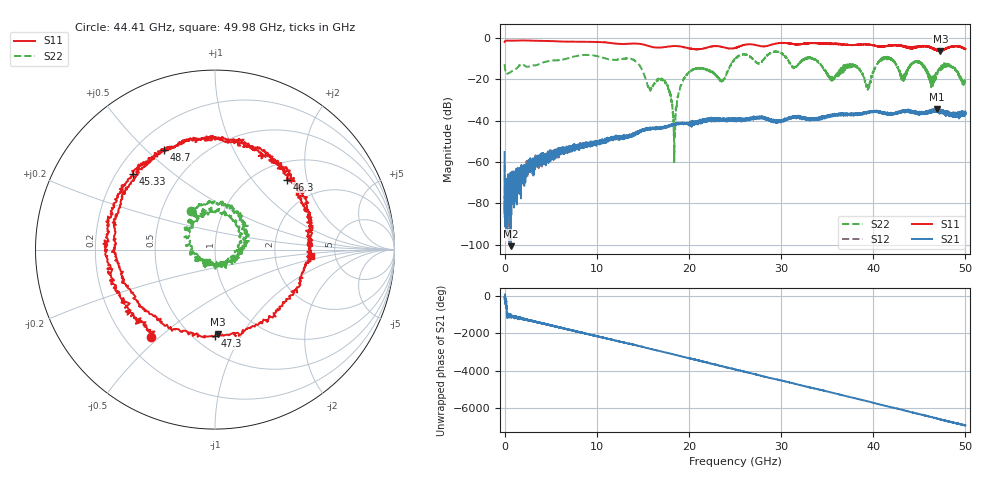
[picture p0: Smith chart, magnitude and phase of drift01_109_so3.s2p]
!Created with skrf (http://scikit-rf.org).
# Hz S RI R 50.0
!freq ReS11 ImS11 ReS21 ImS21 ReS12 ImS12 ReS22 ImS22
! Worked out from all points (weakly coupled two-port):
!   10001 points, 300 kHz to 50 GHz, reference 50 ohm
!   highest |S21| = -34.38 dB at 46.91 GHz (marker M1); lowest = -100.6 dB at 640.3 MHz (marker M2)
!   lowest |S11| = -6.5 dB at 47.28 GHz (marker M3), VSWR 2.78, Z = 32.7 - j39.5 ohm
!   |S11| at or under -10 dB: nowhere
!   |S22| runs from -61.1 to -6.6 dB; largest |S21 - S12| = 0.004
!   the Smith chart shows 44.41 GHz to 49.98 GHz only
!   S11 on the Smith chart (normalised r, x): 44.41 GHz: 0.31, -0.47; 45.33 GHz: 0.27, +0.37; 46.3 GHz: 1.34, +1.52; 47.3 GHz: 0.62, -0.78; 48.7 GHz: 0.31, +0.57; 49.98 GHz: 3.27, -0.33
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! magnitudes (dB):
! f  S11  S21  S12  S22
! 300 kHz  -2.1  -55.2  -61.5  -12.8
! 640.3 MHz  -1.5  -100.6  -72.5  -16.6
! 8.335 GHz  -1.9  -52.1  -52.9  -8.5
! 16.67 GHz  -4.8  -43.7  -43.8  -20.0
! 17.73 GHz  -4.3  -42.8  -42.8  -24.0
! 18.44 GHz  -4.1  -42.0  -41.8  -45.1
! 19.93 GHz  -5.1  -41.6  -41.4  -17.2
! 23.62 GHz  -4.5  -39.7  -39.6  -20.8
! 25 GHz  -5.0  -39.1  -39.5  -10.3
! 33.34 GHz  -2.6  -39.2  -39.3  -9.9
! 39.45 GHz  -3.3  -35.9  -35.7  -23.7
! 41.67 GHz  -3.8  -37.1  -36.7  -9.8
! 43.19 GHz  -4.2  -35.5  -35.7  -19.5
! 44.41 GHz  -4.4  -35.8  -36.4  -11.9
! 45.33 GHz  -4.2  -36.4  -36.6  -13.5
! 46.3 GHz  -5.1  -35.5  -35.3  -23.9
! 46.91 GHz  -6.2  -34.4  -35.1  -17.6
! 47.28 GHz  -6.5  -35.4  -35.6  -15.6
! 47.3 GHz  -6.4  -34.6  -35.2  -15.5
! 48.7 GHz  -4.1  -36.9  -37.6  -14.3
! 49.98 GHz  -5.4  -35.7  -36.2  -21.5
! 50 GHz  -5.4  -36.6  -36.4  -22.0
